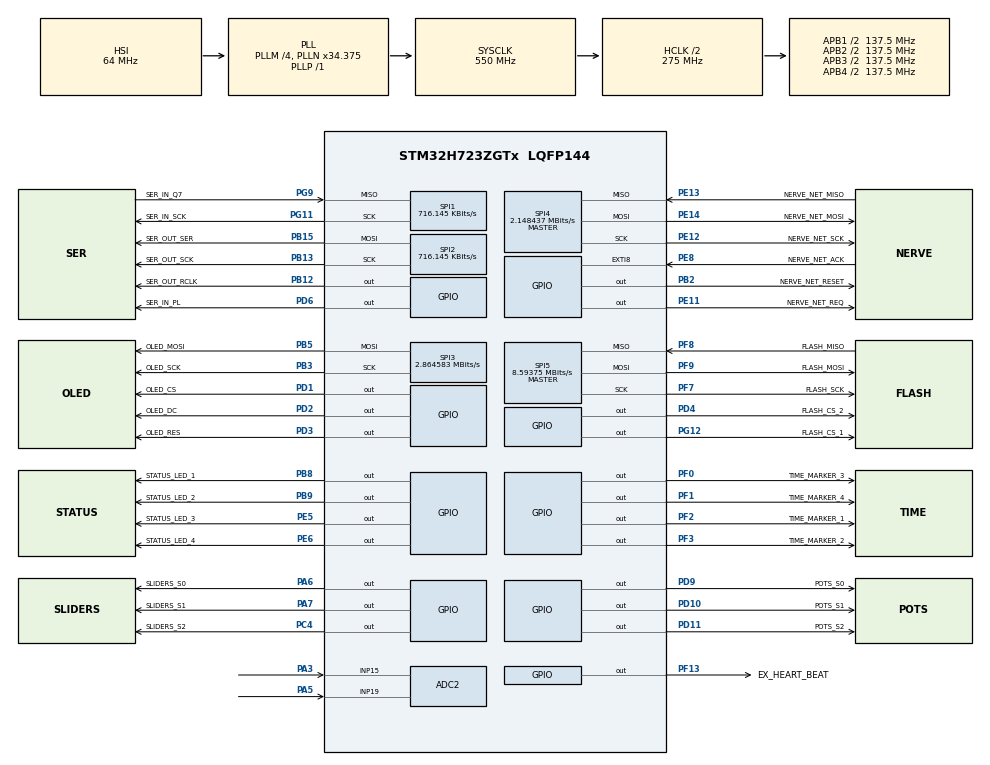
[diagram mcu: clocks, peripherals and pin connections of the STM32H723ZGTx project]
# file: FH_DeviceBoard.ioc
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ADC2.Channel-0\#ChannelRegularConversion=ADC_CHANNEL_15
ADC2.Channel-1\#ChannelRegularConversion=ADC_CHANNEL_19
ADC2.ClockPrescaler=ADC_CLOCK_ASYNC_DIV8
ADC2.ContinuousConvMode=DISABLE
ADC2.ConversionDataManagement=ADC_CONVERSIONDATA_DMA_ONESHOT
ADC2.EOCSelection=ADC_EOC_SEQ_CONV
ADC2.ExternalTrigConv=ADC_SOFTWARE_START
ADC2.NbrOfConversion=2
ADC2.NbrOfConversionFlag=1
ADC2.OffsetNumber-0\#ChannelRegularConversion=ADC_OFFSET_NONE
ADC2.OffsetNumber-1\#ChannelRegularConversion=ADC_OFFSET_NONE
ADC2.OffsetSignedSaturation-0\#ChannelRegularConversion=DISABLE
ADC2.OffsetSignedSaturation-1\#ChannelRegularConversion=DISABLE
ADC2.Rank-0\#ChannelRegularConversion=1
ADC2.Rank-1\#ChannelRegularConversion=2
ADC2.SamplingTime-0\#ChannelRegularConversion=ADC_SAMPLETIME_810CYCLES_5
ADC2.SamplingTime-1\#ChannelRegularConversion=ADC_SAMPLETIME_810CYCLES_5
CORTEX_M7.CPU_ICache=Enabled
CORTEX_M7.default_mode_Activation=1
Dma.ADC2.1.Direction=DMA_PERIPH_TO_MEMORY
Dma.ADC2.1.EventEnable=DISABLE
Dma.ADC2.1.FIFOMode=DMA_FIFOMODE_DISABLE
Dma.ADC2.1.Instance=DMA1_Stream1
Dma.ADC2.1.MemDataAlignment=DMA_MDATAALIGN_HALFWORD
Dma.ADC2.1.MemInc=DMA_MINC_ENABLE
Dma.ADC2.1.Mode=DMA_NORMAL
Dma.ADC2.1.PeriphDataAlignment=DMA_PDATAALIGN_HALFWORD
Dma.ADC2.1.PeriphInc=DMA_PINC_DISABLE
Dma.ADC2.1.Polarity=HAL_DMAMUX_REQ_GEN_RISING
Dma.ADC2.1.Priority=DMA_PRIORITY_MEDIUM
Dma.ADC2.1.RequestNumber=1
Dma.ADC2.1.SignalID=NONE
Dma.ADC2.1.SyncEnable=DISABLE
Dma.ADC2.1.SyncPolarity=HAL_DMAMUX_SYNC_NO_EVENT
Dma.ADC2.1.SyncRequestNumber=1
Dma.ADC2.1.SyncSignalID=NONE
Dma.Request0=SPI2_TX
Dma.Request1=ADC2
Dma.Request2=SPI4_RX
Dma.Request3=SPI4_TX
Dma.SPI2_TX.0.Direction=DMA_MEMORY_TO_PERIPH
Dma.SPI2_TX.0.EventEnable=DISABLE
Dma.SPI2_TX.0.FIFOMode=DMA_FIFOMODE_DISABLE
Dma.SPI2_TX.0.Instance=DMA1_Stream0
Dma.SPI2_TX.0.MemDataAlignment=DMA_MDATAALIGN_BYTE
Dma.SPI2_TX.0.MemInc=DMA_MINC_ENABLE
Dma.SPI2_TX.0.Mode=DMA_NORMAL
Dma.SPI2_TX.0.PeriphDataAlignment=DMA_PDATAALIGN_BYTE
Dma.SPI2_TX.0.PeriphInc=DMA_PINC_DISABLE
Dma.SPI2_TX.0.Polarity=HAL_DMAMUX_REQ_GEN_RISING
Dma.SPI2_TX.0.Priority=DMA_PRIORITY_LOW
Dma.SPI2_TX.0.RequestNumber=1
Dma.SPI2_TX.0.SignalID=NONE
Dma.SPI2_TX.0.SyncEnable=DISABLE
Dma.SPI2_TX.0.SyncPolarity=HAL_DMAMUX_SYNC_NO_EVENT
Dma.SPI2_TX.0.SyncRequestNumber=1
Dma.SPI2_TX.0.SyncSignalID=NONE
Dma.SPI4_RX.2.Direction=DMA_PERIPH_TO_MEMORY
Dma.SPI4_RX.2.EventEnable=DISABLE
Dma.SPI4_RX.2.FIFOMode=DMA_FIFOMODE_DISABLE
Dma.SPI4_RX.2.Instance=DMA1_Stream2
Dma.SPI4_RX.2.MemDataAlignment=DMA_MDATAALIGN_BYTE
Dma.SPI4_RX.2.MemInc=DMA_MINC_ENABLE
Dma.SPI4_RX.2.Mode=DMA_NORMAL
Dma.SPI4_RX.2.PeriphDataAlignment=DMA_PDATAALIGN_BYTE
Dma.SPI4_RX.2.PeriphInc=DMA_PINC_DISABLE
Dma.SPI4_RX.2.Polarity=HAL_DMAMUX_REQ_GEN_RISING
Dma.SPI4_RX.2.Priority=DMA_PRIORITY_LOW
Dma.SPI4_RX.2.RequestNumber=1
Dma.SPI4_RX.2.SignalID=NONE
Dma.SPI4_RX.2.SyncEnable=DISABLE
Dma.SPI4_RX.2.SyncPolarity=HAL_DMAMUX_SYNC_NO_EVENT
Dma.SPI4_RX.2.SyncRequestNumber=1
Dma.SPI4_RX.2.SyncSignalID=NONE
Dma.SPI4_TX.3.Direction=DMA_MEMORY_TO_PERIPH
Dma.SPI4_TX.3.EventEnable=DISABLE
Dma.SPI4_TX.3.FIFOMode=DMA_FIFOMODE_DISABLE
Dma.SPI4_TX.3.Instance=DMA1_Stream3
Dma.SPI4_TX.3.MemDataAlignment=DMA_MDATAALIGN_BYTE
Dma.SPI4_TX.3.MemInc=DMA_MINC_ENABLE
Dma.SPI4_TX.3.Mode=DMA_NORMAL
Dma.SPI4_TX.3.PeriphDataAlignment=DMA_PDATAALIGN_BYTE
Dma.SPI4_TX.3.PeriphInc=DMA_PINC_DISABLE
Dma.SPI4_TX.3.Polarity=HAL_DMAMUX_REQ_GEN_RISING
Dma.SPI4_TX.3.Priority=DMA_PRIORITY_LOW
Dma.SPI4_TX.3.RequestNumber=1
Dma.SPI4_TX.3.SignalID=NONE
Dma.SPI4_TX.3.SyncEnable=DISABLE
Dma.SPI4_TX.3.SyncPolarity=HAL_DMAMUX_SYNC_NO_EVENT
Dma.SPI4_TX.3.SyncRequestNumber=1
Dma.SPI4_TX.3.SyncSignalID=NONE
FREERTOS.Tasks01=defaultTask,24,128,StartDefaultTask,Default,NULL,Dynamic,NULL,NULL
FREERTOS.configENABLE_FPU=1
FREERTOS.configTOTAL_HEAP_SIZE=245760
FREERTOS.configUSE_NEWLIB_REENTRANT=1
Mcu.Family=STM32H7
Mcu.Name=STM32H723ZGTx
Mcu.Package=LQFP144
NVIC.ADC_IRQn=true\:5\:0\:false\:false\:true\:true\:true\:true\:true
NVIC.DMA1_Stream0_IRQn=true\:5\:0\:false\:false\:true\:true\:false\:true\:true
NVIC.DMA1_Stream1_IRQn=true\:5\:0\:false\:false\:true\:true\:false\:true\:true
NVIC.DMA1_Stream2_IRQn=true\:5\:0\:false\:false\:true\:true\:false\:true\:true
NVIC.DMA1_Stream3_IRQn=true\:5\:0\:false\:false\:true\:true\:false\:true\:true
NVIC.EXTI9_5_IRQn=true\:5\:0\:false\:false\:true\:true\:true\:true\:true
NVIC.PriorityGroup=NVIC_PRIORITYGROUP_4
NVIC.SPI2_IRQn=true\:5\:0\:false\:false\:true\:true\:false\:true\:true
NVIC.SPI4_IRQn=true\:5\:0\:false\:false\:true\:true\:false\:true\:true
NVIC.TIM1_UP_IRQn=true\:15\:0\:false\:false\:true\:false\:false\:true\:true
NVIC.TIM4_IRQn=true\:5\:0\:false\:false\:true\:true\:true\:true\:true
NVIC.TimeBase=TIM1_UP_IRQn
NVIC.TimeBaseIP=TIM1
PA13(JTMS/SWDIO).Mode=Serial_Wire
PA13(JTMS/SWDIO).Signal=DEBUG_JTMS-SWDIO
PA14(JTCK/SWCLK).Mode=Serial_Wire
PA14(JTCK/SWCLK).Signal=DEBUG_JTCK-SWCLK
PA3.Signal=ADCx_INP15
PA5.Signal=ADCx_INP19
PA6.GPIO_Label=SLIDERS_S0
PA6.GPIO_Speed=GPIO_SPEED_FREQ_MEDIUM
PA6.Signal=GPIO_Output
PA7.GPIO_Label=SLIDERS_S1
PA7.GPIO_Speed=GPIO_SPEED_FREQ_MEDIUM
PA7.Signal=GPIO_Output
PB12.GPIO_Label=SER_OUT_RCLK
PB12.GPIO_Speed=GPIO_SPEED_FREQ_MEDIUM
PB12.PinState=GPIO_PIN_SET
PB12.Signal=GPIO_Output
PB13.GPIO_Label=SER_OUT_SCK
PB13.Mode=TX_Only_Simplex_Unidirect_Master
PB13.Signal=SPI2_SCK
PB15.GPIO_Label=SER_OUT_SER
PB15.Mode=TX_Only_Simplex_Unidirect_Master
PB15.Signal=SPI2_MOSI
PB2.GPIO_Label=NERVE_NET_RESET
PB2.GPIO_Speed=GPIO_SPEED_FREQ_MEDIUM
PB2.PinState=GPIO_PIN_RESET
PB2.Signal=GPIO_Output
PB3(JTDO/TRACESWO).GPIO_Label=OLED_SCK
PB3(JTDO/TRACESWO).Mode=TX_Only_Simplex_Unidirect_Master
PB3(JTDO/TRACESWO).Signal=SPI3_SCK
PB5.GPIO_Label=OLED_MOSI
PB5.Mode=TX_Only_Simplex_Unidirect_Master
PB5.Signal=SPI3_MOSI
PB8.GPIO_Label=STATUS_LED_1
PB8.GPIO_ModeDefaultOutputPP=GPIO_MODE_OUTPUT_OD
PB8.GPIO_PuPd=GPIO_NOPULL
PB8.PinState=GPIO_PIN_SET
PB8.Signal=GPIO_Output
PB9.GPIO_Label=STATUS_LED_2
PB9.GPIO_ModeDefaultOutputPP=GPIO_MODE_OUTPUT_OD
PB9.GPIO_PuPd=GPIO_NOPULL
PB9.PinState=GPIO_PIN_SET
PB9.Signal=GPIO_Output
PC4.GPIO_Label=SLIDERS_S2
PC4.GPIO_Speed=GPIO_SPEED_FREQ_MEDIUM
PC4.Signal=GPIO_Output
PD1.GPIO_Label=OLED_CS
PD1.GPIO_Speed=GPIO_SPEED_FREQ_MEDIUM
PD1.PinState=GPIO_PIN_SET
PD1.Signal=GPIO_Output
PD10.GPIO_Label=POTS_S1
PD10.GPIO_Speed=GPIO_SPEED_FREQ_MEDIUM
PD10.Signal=GPIO_Output
PD11.GPIO_Label=POTS_S2
PD11.GPIO_Speed=GPIO_SPEED_FREQ_MEDIUM
PD11.Signal=GPIO_Output
PD2.GPIO_Label=OLED_DC
PD2.GPIO_Speed=GPIO_SPEED_FREQ_MEDIUM
PD2.PinState=GPIO_PIN_SET
PD2.Signal=GPIO_Output
PD3.GPIO_Label=OLED_RES
PD3.GPIO_Speed=GPIO_SPEED_FREQ_MEDIUM
PD3.PinState=GPIO_PIN_SET
PD3.Signal=GPIO_Output
PD4.GPIO_Label=FLASH_CS_2
PD4.GPIO_Speed=GPIO_SPEED_FREQ_MEDIUM
PD4.PinState=GPIO_PIN_SET
PD4.Signal=GPIO_Output
PD6.GPIO_Label=SER_IN_PL
PD6.GPIO_Speed=GPIO_SPEED_FREQ_MEDIUM
PD6.PinState=GPIO_PIN_SET
PD6.Signal=GPIO_Output
PD9.GPIO_Label=POTS_S0
PD9.GPIO_Speed=GPIO_SPEED_FREQ_MEDIUM
PD9.Signal=GPIO_Output
PE11.GPIO_Label=NERVE_NET_REQ
PE11.GPIO_PuPd=GPIO_PULLDOWN
PE11.GPIO_Speed=GPIO_SPEED_FREQ_MEDIUM
PE11.PinState=GPIO_PIN_RESET
PE11.Signal=GPIO_Output
PE12.GPIO_Label=NERVE_NET_SCK
PE12.Mode=Full_Duplex_Master
PE12.Signal=SPI4_SCK
PE13.GPIO_Label=NERVE_NET_MISO
PE13.Mode=Full_Duplex_Master
PE13.Signal=SPI4_MISO
PE14.GPIO_Label=NERVE_NET_MOSI
PE14.Mode=Full_Duplex_Master
PE14.Signal=SPI4_MOSI
PE5.GPIO_Label=STATUS_LED_3
PE5.GPIO_ModeDefaultOutputPP=GPIO_MODE_OUTPUT_OD
PE5.GPIO_PuPd=GPIO_NOPULL
PE5.PinState=GPIO_PIN_SET
PE5.Signal=GPIO_Output
PE6.GPIO_Label=STATUS_LED_4
PE6.GPIO_ModeDefaultOutputPP=GPIO_MODE_OUTPUT_OD
PE6.GPIO_PuPd=GPIO_NOPULL
PE6.PinState=GPIO_PIN_SET
PE6.Signal=GPIO_Output
PE8.GPIO_Label=NERVE_NET_ACK
PE8.GPIO_ModeDefaultEXTI=GPIO_MODE_IT_RISING_FALLING
PE8.Signal=GPXTI8
PF0.GPIO_Label=TIME_MARKER_3
PF0.GPIO_Speed=GPIO_SPEED_FREQ_VERY_HIGH
PF0.Signal=GPIO_Output
PF1.GPIO_Label=TIME_MARKER_4
PF1.GPIO_Speed=GPIO_SPEED_FREQ_VERY_HIGH
PF1.Signal=GPIO_Output
PF13.GPIO_Label=EX_HEART_BEAT
PF13.PinState=GPIO_PIN_SET
PF13.Signal=GPIO_Output
PF2.GPIO_Label=TIME_MARKER_1
PF2.GPIO_Speed=GPIO_SPEED_FREQ_VERY_HIGH
PF2.Signal=GPIO_Output
PF3.GPIO_Label=TIME_MARKER_2
PF3.GPIO_Speed=GPIO_SPEED_FREQ_VERY_HIGH
PF3.Signal=GPIO_Output
PF7.GPIO_Label=FLASH_SCK
PF7.Mode=Full_Duplex_Master
PF7.Signal=SPI5_SCK
PF8.GPIO_Label=FLASH_MISO
PF8.Mode=Full_Duplex_Master
PF8.Signal=SPI5_MISO
PF9.GPIO_Label=FLASH_MOSI
PF9.Mode=Full_Duplex_Master
PF9.Signal=SPI5_MOSI
PG11.GPIO_Label=SER_IN_SCK
PG11.Mode=RX_Only_Simplex_Unidirect_Master
PG11.Signal=SPI1_SCK
PG12.GPIO_Label=FLASH_CS_1
PG12.GPIO_Speed=GPIO_SPEED_FREQ_MEDIUM
PG12.PinState=GPIO_PIN_SET
PG12.Signal=GPIO_Output
PG9.GPIO_Label=SER_IN_Q7
PG9.Mode=RX_Only_Simplex_Unidirect_Master
PG9.Signal=SPI1_MISO
PH0-OSC_IN.Mode=HSE-External-Oscillator
PH0-OSC_IN.Signal=RCC_OSC_IN
PH1-OSC_OUT.Mode=HSE-External-Oscillator
PH1-OSC_OUT.Signal=RCC_OSC_OUT
ProjectManager.HeapSize=0x200
ProjectManager.StackSize=0x400
ProjectManager.TargetToolchain=STM32CubeIDE
RCC.ADCFreq_Value=96000000
RCC.APB1Freq_Value=137500000
RCC.APB2Freq_Value=137500000
RCC.APB3Freq_Value=137500000
RCC.APB4Freq_Value=137500000
RCC.CortexFreq_Value=550000000
RCC.D1PPRE=RCC_APB3_DIV2
RCC.D2PPRE1=RCC_APB1_DIV2
RCC.D2PPRE2=RCC_APB2_DIV2
RCC.D3PPRE=RCC_APB4_DIV2
RCC.DIVM1=4
RCC.DIVM2=4
RCC.DIVN1=34
RCC.DIVN2=12
RCC.DIVP1=1
RCC.DIVQ1=3
RCC.HCLKFreq_Value=275000000
RCC.HPRE=RCC_HCLK_DIV2
RCC.PLL2FRACN=0
RCC.PLL3FRACN=0
RCC.PLLFRACN=3072
RCC.SYSCLKFreq_VALUE=550000000
RCC.SYSCLKSource=RCC_SYSCLKSOURCE_PLLCLK
RCC.USBFreq_Value=183333333.33333334
SH.ADCx_INP15.0=ADC2_INP15,IN15-Single-Ended
SH.ADCx_INP19.0=ADC2_INP19,IN19-Single-Ended
SPI1.BaudRatePrescaler=SPI_BAUDRATEPRESCALER_256
SPI1.CalculateBaudRate=716.145 KBits/s
SPI1.DataSize=SPI_DATASIZE_8BIT
SPI1.Direction=SPI_DIRECTION_2LINES_RXONLY
SPI1.Mode=SPI_MODE_MASTER
SPI1.VirtualType=VM_MASTER
SPI2.BaudRatePrescaler=SPI_BAUDRATEPRESCALER_256
SPI2.CalculateBaudRate=716.145 KBits/s
SPI2.DataSize=SPI_DATASIZE_8BIT
SPI2.Direction=SPI_DIRECTION_2LINES_TXONLY
SPI2.Mode=SPI_MODE_MASTER
SPI2.VirtualType=VM_MASTER
SPI3.BaudRatePrescaler=SPI_BAUDRATEPRESCALER_64
SPI3.CalculateBaudRate=2.864583 MBits/s
SPI3.DataSize=SPI_DATASIZE_8BIT
SPI3.Direction=SPI_DIRECTION_2LINES_TXONLY
SPI3.Mode=SPI_MODE_MASTER
SPI3.VirtualType=VM_MASTER
SPI4.BaudRatePrescaler=SPI_BAUDRATEPRESCALER_64
SPI4.CalculateBaudRate=2.148437 MBits/s
SPI4.DataSize=SPI_DATASIZE_8BIT
SPI4.Direction=SPI_DIRECTION_2LINES
SPI4.Mode=SPI_MODE_MASTER
SPI4.VirtualType=VM_MASTER
SPI5.BaudRatePrescaler=SPI_BAUDRATEPRESCALER_16
SPI5.CalculateBaudRate=8.59375 MBits/s
SPI5.DataSize=SPI_DATASIZE_8BIT
SPI5.Direction=SPI_DIRECTION_2LINES
SPI5.Mode=SPI_MODE_MASTER
SPI5.VirtualType=VM_MASTER
TIM4.Period=1000 - 1
TIM4.Prescaler=120 - 1
VP_FREERTOS_VS_CMSIS_V2.Mode=CMSIS_V2
VP_MEMORYMAP_VS_MEMORYMAP.Mode=CurAppReg
VP_SYS_VS_tim1.Mode=TIM1
VP_TIM4_VS_ClockSourceINT.Mode=Internal
board=custom

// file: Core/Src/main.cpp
/* USER CODE BEGIN Header */
/**
  ******************************************************************************
  * @file           : main.c
  * @brief          : Main program body
  ******************************************************************************
  * @attention
  *
  * Copyright (c) 2025 STMicroelectronics.
  * All rights reserved.
  *
  * This software is licensed under terms that can be found in the LICENSE file
  * in the root directory of this software component.
  * If no LICENSE file comes with this software, it is provided AS-IS.
  *
  ******************************************************************************
  */
/* USER CODE END Header */
#include "main.h"
#include "cmsis_os.h"

/* USER CODE BEGIN Includes */

#include "UI_Definitions.h"
#include "YellowPages.h"

#include "SystemConfig.h"

#include "UI_Thread.h"

#include "NerveNet/NerveNetMasterThread.h"
#include "NerveNet/NerveNetSlaveThread.h"
#include "NerveNet/NerveNetConfig.h"
#include "Threads/TriggerThread.h"

#include "NorthSideConnection.h"

/* USER CODE END Includes */

ADC_HandleTypeDef hadc2;
DMA_HandleTypeDef hdma_adc2;

SPI_HandleTypeDef hspi1;
SPI_HandleTypeDef hspi2;
SPI_HandleTypeDef hspi3;
SPI_HandleTypeDef hspi4;
SPI_HandleTypeDef hspi5;
DMA_HandleTypeDef hdma_spi2_tx;
DMA_HandleTypeDef hdma_spi4_rx;
DMA_HandleTypeDef hdma_spi4_tx;

TIM_HandleTypeDef htim4;

/* Definitions for defaultTask */
osThreadId_t defaultTaskHandle;
const osThreadAttr_t defaultTask_attributes = {
  .name = "defaultTask",
  .stack_size = 128 * 4,
  .priority = (osPriority_t) osPriorityNormal,
};

void SystemClock_Config(void);
static void MPU_Config(void);
static void MX_GPIO_Init(void);
static void MX_DMA_Init(void);
static void MX_SPI2_Init(void);
static void MX_SPI3_Init(void);
static void MX_SPI5_Init(void);
static void MX_TIM4_Init(void);
static void MX_SPI1_Init(void);
static void MX_ADC2_Init(void);
static void MX_SPI4_Init(void);
void StartDefaultTask(void *argument);

/* USER CODE BEGIN 0 */

static uint32_t gInitFreeHeapSize;
uint32_t getInitFreeHeapSize ()
{
	return gInitFreeHeapSize;
}

/*
 * displayStatus()
 */
//void displayStatus(eStatusCodes status)
static uint32_t _status_ = 0x00;
void displayStatus(uint32_t status)
{
	_status_ = status;
	uint32_t code = (uint32_t)status;
	HAL_GPIO_WritePin(GPIOB, STATUS_LED_2_Pin|STATUS_LED_1_Pin, GPIO_PIN_SET);
	HAL_GPIO_WritePin(GPIOE, STATUS_LED_4_Pin|STATUS_LED_3_Pin, GPIO_PIN_SET);
	if (code & 0x00000001)
		HAL_GPIO_WritePin(GPIOB, STATUS_LED_1_Pin, GPIO_PIN_RESET);
	if (code & 0x00000002)
		HAL_GPIO_WritePin(GPIOB, STATUS_LED_2_Pin, GPIO_PIN_RESET);
	if (code & 0x00000004)
		HAL_GPIO_WritePin(GPIOE, STATUS_LED_3_Pin, GPIO_PIN_RESET);
	if (code & 0x00000008)
		HAL_GPIO_WritePin(GPIOE, STATUS_LED_4_Pin, GPIO_PIN_RESET);
}

void incDisplayStatus()
{
	displayStatus ( ++ _status_ );
	osDelay ( pdMS_TO_TICKS ( 100 ) );
}

/*
 * Time marker functions used for performance measurement using a logic analyzer
 */
void toggleTimeMarker_1()
{
	HAL_GPIO_TogglePin(GPIOF, TIME_MARKER_1_Pin);
}

void setTimeMarker_1()
{
	HAL_GPIO_WritePin(GPIOF, TIME_MARKER_1_Pin, GPIO_PIN_SET);
}

void resetTimeMarker_1()
{
	HAL_GPIO_WritePin(GPIOF, TIME_MARKER_1_Pin, GPIO_PIN_RESET);
}

void toggleTimeMarker_2()
{
	HAL_GPIO_TogglePin(GPIOF, TIME_MARKER_2_Pin);
}

void setTimeMarker_2()
{
	HAL_GPIO_WritePin(GPIOF, TIME_MARKER_2_Pin, GPIO_PIN_SET);
}

void resetTimeMarker_2()
{
	HAL_GPIO_WritePin(GPIOF, TIME_MARKER_2_Pin, GPIO_PIN_RESET);
}

void toggleTimeMarker_3()
{
	HAL_GPIO_TogglePin(GPIOF, TIME_MARKER_3_Pin);
}

void setTimeMarker_3()
{
	HAL_GPIO_WritePin(GPIOF, TIME_MARKER_3_Pin, GPIO_PIN_SET);
}

void resetTimeMarker_3()
{
	HAL_GPIO_WritePin(GPIOF, TIME_MARKER_3_Pin, GPIO_PIN_RESET);
}

void toggleTimeMarker_4()
{
	HAL_GPIO_TogglePin(GPIOF, TIME_MARKER_4_Pin);
}

void setTimeMarker_4()
{
	HAL_GPIO_WritePin(GPIOF, TIME_MARKER_4_Pin, GPIO_PIN_SET);
}

void resetTimeMarker_4()
{
	HAL_GPIO_WritePin(GPIOF, TIME_MARKER_4_Pin, GPIO_PIN_RESET);
}

/* USER CODE END 0 */

int main(void)
{

  /* MPU Configuration--------------------------------------------------------*/
  MPU_Config();

  /* Enable the CPU Cache */

  /* Enable I-Cache---------------------------------------------------------*/
  SCB_EnableICache();

  /* MCU Configuration--------------------------------------------------------*/

  /* Reset of all peripherals, Initializes the Flash interface and the Systick. */
  HAL_Init();

  /* Configure the system clock */
  SystemClock_Config();

  /* Initialize all configured peripherals */
  MX_GPIO_Init();
  MX_DMA_Init();
  MX_SPI2_Init();
  MX_SPI3_Init();
  MX_SPI5_Init();
  MX_TIM4_Init();
  MX_SPI1_Init();
  MX_ADC2_Init();
  MX_SPI4_Init();
  /* USER CODE BEGIN 2 */

//  HAL_Delay( 10000 );

  /* USER CODE END 2 */

  /* Init scheduler */
  osKernelInitialize();

  /* Create the thread(s) */
  /* creation of defaultTask */
  defaultTaskHandle = osThreadNew(StartDefaultTask, NULL, &defaultTask_attributes);

  /* Start scheduler */
  osKernelStart();

  /* We should never get here as control is now taken by the scheduler */

  /* Infinite loop */
  while (1)
  {

  }
}

void SystemClock_Config(void)
{
  RCC_OscInitTypeDef RCC_OscInitStruct = {0};
  RCC_ClkInitTypeDef RCC_ClkInitStruct = {0};

  /** Supply configuration update enable
  */
  HAL_PWREx_ConfigSupply(PWR_LDO_SUPPLY);

  /** Configure the main internal regulator output voltage
  */
  __HAL_PWR_VOLTAGESCALING_CONFIG(PWR_REGULATOR_VOLTAGE_SCALE0);

  while(!__HAL_PWR_GET_FLAG(PWR_FLAG_VOSRDY)) {}

  /** Initializes the RCC Oscillators according to the specified parameters
  * in the RCC_OscInitTypeDef structure.
  */
  RCC_OscInitStruct.OscillatorType = RCC_OSCILLATORTYPE_HSI;
  RCC_OscInitStruct.HSIState = RCC_HSI_DIV1;
  RCC_OscInitStruct.HSICalibrationValue = 64;
  RCC_OscInitStruct.PLL.PLLState = RCC_PLL_ON;
  RCC_OscInitStruct.PLL.PLLSource = RCC_PLLSOURCE_HSI;
  RCC_OscInitStruct.PLL.PLLM = 4;
  RCC_OscInitStruct.PLL.PLLN = 34;
  RCC_OscInitStruct.PLL.PLLP = 1;
  RCC_OscInitStruct.PLL.PLLQ = 3;
  RCC_OscInitStruct.PLL.PLLR = 2;
  RCC_OscInitStruct.PLL.PLLRGE = RCC_PLL1VCIRANGE_3;
  RCC_OscInitStruct.PLL.PLLVCOSEL = RCC_PLL1VCOWIDE;
  RCC_OscInitStruct.PLL.PLLFRACN = 3072;
  if (HAL_RCC_OscConfig(&RCC_OscInitStruct) != HAL_OK)
  {
    Error_Handler();
  }

  /** Initializes the CPU, AHB and APB buses clocks
  */
  RCC_ClkInitStruct.ClockType = RCC_CLOCKTYPE_HCLK|RCC_CLOCKTYPE_SYSCLK
                              |RCC_CLOCKTYPE_PCLK1|RCC_CLOCKTYPE_PCLK2
                              |RCC_CLOCKTYPE_D3PCLK1|RCC_CLOCKTYPE_D1PCLK1;
  RCC_ClkInitStruct.SYSCLKSource = RCC_SYSCLKSOURCE_PLLCLK;
  RCC_ClkInitStruct.SYSCLKDivider = RCC_SYSCLK_DIV1;
  RCC_ClkInitStruct.AHBCLKDivider = RCC_HCLK_DIV2;
  RCC_ClkInitStruct.APB3CLKDivider = RCC_APB3_DIV2;
  RCC_ClkInitStruct.APB1CLKDivider = RCC_APB1_DIV2;
  RCC_ClkInitStruct.APB2CLKDivider = RCC_APB2_DIV2;
  RCC_ClkInitStruct.APB4CLKDivider = RCC_APB4_DIV2;

  if (HAL_RCC_ClockConfig(&RCC_ClkInitStruct, FLASH_LATENCY_3) != HAL_OK)
  {
    Error_Handler();
  }
}

static void MX_ADC2_Init(void)
{

  ADC_ChannelConfTypeDef sConfig = {0};

  /** Common config
  */
  hadc2.Instance = ADC2;
  hadc2.Init.ClockPrescaler = ADC_CLOCK_ASYNC_DIV8;
  hadc2.Init.Resolution = ADC_RESOLUTION_16B;
  hadc2.Init.ScanConvMode = ADC_SCAN_ENABLE;
  hadc2.Init.EOCSelection = ADC_EOC_SEQ_CONV;
  hadc2.Init.LowPowerAutoWait = DISABLE;
  hadc2.Init.ContinuousConvMode = DISABLE;
  hadc2.Init.NbrOfConversion = 2;
  hadc2.Init.DiscontinuousConvMode = DISABLE;
  hadc2.Init.ExternalTrigConv = ADC_SOFTWARE_START;
  hadc2.Init.ExternalTrigConvEdge = ADC_EXTERNALTRIGCONVEDGE_NONE;
  hadc2.Init.ConversionDataManagement = ADC_CONVERSIONDATA_DMA_ONESHOT;
  hadc2.Init.Overrun = ADC_OVR_DATA_PRESERVED;
  hadc2.Init.LeftBitShift = ADC_LEFTBITSHIFT_NONE;
  hadc2.Init.OversamplingMode = DISABLE;
  hadc2.Init.Oversampling.Ratio = 1;
  if (HAL_ADC_Init(&hadc2) != HAL_OK)
  {
    Error_Handler();
  }

  /** Configure Regular Channel
  */
  sConfig.Channel = ADC_CHANNEL_15;
  sConfig.Rank = ADC_REGULAR_RANK_1;
  sConfig.SamplingTime = ADC_SAMPLETIME_810CYCLES_5;
  sConfig.SingleDiff = ADC_SINGLE_ENDED;
  sConfig.OffsetNumber = ADC_OFFSET_NONE;
  sConfig.Offset = 0;
  sConfig.OffsetSignedSaturation = DISABLE;
  if (HAL_ADC_ConfigChannel(&hadc2, &sConfig) != HAL_OK)
  {
    Error_Handler();
  }

  /** Configure Regular Channel
  */
  sConfig.Channel = ADC_CHANNEL_19;
  sConfig.Rank = ADC_REGULAR_RANK_2;
  if (HAL_ADC_ConfigChannel(&hadc2, &sConfig) != HAL_OK)
  {
    Error_Handler();
  }

}

static void MX_SPI1_Init(void)
{

  /* SPI1 parameter configuration*/
  hspi1.Instance = SPI1;
  hspi1.Init.Mode = SPI_MODE_MASTER;
  hspi1.Init.Direction = SPI_DIRECTION_2LINES_RXONLY;
  hspi1.Init.DataSize = SPI_DATASIZE_8BIT;
  hspi1.Init.CLKPolarity = SPI_POLARITY_LOW;
  hspi1.Init.CLKPhase = SPI_PHASE_1EDGE;
  hspi1.Init.NSS = SPI_NSS_SOFT;
  hspi1.Init.BaudRatePrescaler = SPI_BAUDRATEPRESCALER_256;
  hspi1.Init.FirstBit = SPI_FIRSTBIT_MSB;
  hspi1.Init.TIMode = SPI_TIMODE_DISABLE;
  hspi1.Init.CRCCalculation = SPI_CRCCALCULATION_DISABLE;
  hspi1.Init.CRCPolynomial = 0x0;
  hspi1.Init.NSSPMode = SPI_NSS_PULSE_ENABLE;
  hspi1.Init.NSSPolarity = SPI_NSS_POLARITY_LOW;
  hspi1.Init.FifoThreshold = SPI_FIFO_THRESHOLD_01DATA;
  hspi1.Init.TxCRCInitializationPattern = SPI_CRC_INITIALIZATION_ALL_ZERO_PATTERN;
  hspi1.Init.RxCRCInitializationPattern = SPI_CRC_INITIALIZATION_ALL_ZERO_PATTERN;
  hspi1.Init.MasterSSIdleness = SPI_MASTER_SS_IDLENESS_00CYCLE;
  hspi1.Init.MasterInterDataIdleness = SPI_MASTER_INTERDATA_IDLENESS_00CYCLE;
  hspi1.Init.MasterReceiverAutoSusp = SPI_MASTER_RX_AUTOSUSP_DISABLE;
  hspi1.Init.MasterKeepIOState = SPI_MASTER_KEEP_IO_STATE_DISABLE;
  hspi1.Init.IOSwap = SPI_IO_SWAP_DISABLE;
  if (HAL_SPI_Init(&hspi1) != HAL_OK)
  {
    Error_Handler();
  }

}

static void MX_SPI2_Init(void)
{

  /* SPI2 parameter configuration*/
  hspi2.Instance = SPI2;
  hspi2.Init.Mode = SPI_MODE_MASTER;
  hspi2.Init.Direction = SPI_DIRECTION_2LINES_TXONLY;
  hspi2.Init.DataSize = SPI_DATASIZE_8BIT;
  hspi2.Init.CLKPolarity = SPI_POLARITY_LOW;
  hspi2.Init.CLKPhase = SPI_PHASE_1EDGE;
  hspi2.Init.NSS = SPI_NSS_SOFT;
  hspi2.Init.BaudRatePrescaler = SPI_BAUDRATEPRESCALER_256;
  hspi2.Init.FirstBit = SPI_FIRSTBIT_MSB;
  hspi2.Init.TIMode = SPI_TIMODE_DISABLE;
  hspi2.Init.CRCCalculation = SPI_CRCCALCULATION_DISABLE;
  hspi2.Init.CRCPolynomial = 0x0;
  hspi2.Init.NSSPMode = SPI_NSS_PULSE_ENABLE;
  hspi2.Init.NSSPolarity = SPI_NSS_POLARITY_LOW;
  hspi2.Init.FifoThreshold = SPI_FIFO_THRESHOLD_01DATA;
  hspi2.Init.TxCRCInitializationPattern = SPI_CRC_INITIALIZATION_ALL_ZERO_PATTERN;
  hspi2.Init.RxCRCInitializationPattern = SPI_CRC_INITIALIZATION_ALL_ZERO_PATTERN;
  hspi2.Init.MasterSSIdleness = SPI_MASTER_SS_IDLENESS_00CYCLE;
  hspi2.Init.MasterInterDataIdleness = SPI_MASTER_INTERDATA_IDLENESS_00CYCLE;
  hspi2.Init.MasterReceiverAutoSusp = SPI_MASTER_RX_AUTOSUSP_DISABLE;
  hspi2.Init.MasterKeepIOState = SPI_MASTER_KEEP_IO_STATE_DISABLE;
  hspi2.Init.IOSwap = SPI_IO_SWAP_DISABLE;
  if (HAL_SPI_Init(&hspi2) != HAL_OK)
  {
    Error_Handler();
  }

}

static void MX_SPI3_Init(void)
{

  /* SPI3 parameter configuration*/
  hspi3.Instance = SPI3;
  hspi3.Init.Mode = SPI_MODE_MASTER;
  hspi3.Init.Direction = SPI_DIRECTION_2LINES_TXONLY;
  hspi3.Init.DataSize = SPI_DATASIZE_8BIT;
  hspi3.Init.CLKPolarity = SPI_POLARITY_LOW;
  hspi3.Init.CLKPhase = SPI_PHASE_1EDGE;
  hspi3.Init.NSS = SPI_NSS_SOFT;
  hspi3.Init.BaudRatePrescaler = SPI_BAUDRATEPRESCALER_64;
  hspi3.Init.FirstBit = SPI_FIRSTBIT_MSB;
  hspi3.Init.TIMode = SPI_TIMODE_DISABLE;
  hspi3.Init.CRCCalculation = SPI_CRCCALCULATION_DISABLE;
  hspi3.Init.CRCPolynomial = 0x0;
  hspi3.Init.NSSPMode = SPI_NSS_PULSE_ENABLE;
  hspi3.Init.NSSPolarity = SPI_NSS_POLARITY_LOW;
  hspi3.Init.FifoThreshold = SPI_FIFO_THRESHOLD_01DATA;
  hspi3.Init.TxCRCInitializationPattern = SPI_CRC_INITIALIZATION_ALL_ZERO_PATTERN;
  hspi3.Init.RxCRCInitializationPattern = SPI_CRC_INITIALIZATION_ALL_ZERO_PATTERN;
  hspi3.Init.MasterSSIdleness = SPI_MASTER_SS_IDLENESS_00CYCLE;
  hspi3.Init.MasterInterDataIdleness = SPI_MASTER_INTERDATA_IDLENESS_00CYCLE;
  hspi3.Init.MasterReceiverAutoSusp = SPI_MASTER_RX_AUTOSUSP_DISABLE;
  hspi3.Init.MasterKeepIOState = SPI_MASTER_KEEP_IO_STATE_DISABLE;
  hspi3.Init.IOSwap = SPI_IO_SWAP_DISABLE;
  if (HAL_SPI_Init(&hspi3) != HAL_OK)
  {
    Error_Handler();
  }

}

static void MX_SPI4_Init(void)
{

  /* SPI4 parameter configuration*/
  hspi4.Instance = SPI4;
  hspi4.Init.Mode = SPI_MODE_MASTER;
  hspi4.Init.Direction = SPI_DIRECTION_2LINES;
  hspi4.Init.DataSize = SPI_DATASIZE_8BIT;
  hspi4.Init.CLKPolarity = SPI_POLARITY_LOW;
  hspi4.Init.CLKPhase = SPI_PHASE_1EDGE;
  hspi4.Init.NSS = SPI_NSS_SOFT;
  hspi4.Init.BaudRatePrescaler = SPI_BAUDRATEPRESCALER_64;
  hspi4.Init.FirstBit = SPI_FIRSTBIT_MSB;
  hspi4.Init.TIMode = SPI_TIMODE_DISABLE;
  hspi4.Init.CRCCalculation = SPI_CRCCALCULATION_DISABLE;
  hspi4.Init.CRCPolynomial = 0x0;
  hspi4.Init.NSSPMode = SPI_NSS_PULSE_ENABLE;
  hspi4.Init.NSSPolarity = SPI_NSS_POLARITY_LOW;
  hspi4.Init.FifoThreshold = SPI_FIFO_THRESHOLD_01DATA;
  hspi4.Init.TxCRCInitializationPattern = SPI_CRC_INITIALIZATION_ALL_ZERO_PATTERN;
  hspi4.Init.RxCRCInitializationPattern = SPI_CRC_INITIALIZATION_ALL_ZERO_PATTERN;
  hspi4.Init.MasterSSIdleness = SPI_MASTER_SS_IDLENESS_00CYCLE;
  hspi4.Init.MasterInterDataIdleness = SPI_MASTER_INTERDATA_IDLENESS_00CYCLE;
  hspi4.Init.MasterReceiverAutoSusp = SPI_MASTER_RX_AUTOSUSP_DISABLE;
  hspi4.Init.MasterKeepIOState = SPI_MASTER_KEEP_IO_STATE_DISABLE;
  hspi4.Init.IOSwap = SPI_IO_SWAP_DISABLE;
  if (HAL_SPI_Init(&hspi4) != HAL_OK)
  {
    Error_Handler();
  }

}

static void MX_SPI5_Init(void)
{

  /* SPI5 parameter configuration*/
  hspi5.Instance = SPI5;
  hspi5.Init.Mode = SPI_MODE_MASTER;
  hspi5.Init.Direction = SPI_DIRECTION_2LINES;
  hspi5.Init.DataSize = SPI_DATASIZE_8BIT;
  hspi5.Init.CLKPolarity = SPI_POLARITY_LOW;
  hspi5.Init.CLKPhase = SPI_PHASE_1EDGE;
  hspi5.Init.NSS = SPI_NSS_SOFT;
  hspi5.Init.BaudRatePrescaler = SPI_BAUDRATEPRESCALER_16;
  hspi5.Init.FirstBit = SPI_FIRSTBIT_MSB;
  hspi5.Init.TIMode = SPI_TIMODE_DISABLE;
  hspi5.Init.CRCCalculation = SPI_CRCCALCULATION_DISABLE;
  hspi5.Init.CRCPolynomial = 0x0;
  hspi5.Init.NSSPMode = SPI_NSS_PULSE_ENABLE;
  hspi5.Init.NSSPolarity = SPI_NSS_POLARITY_LOW;
  hspi5.Init.FifoThreshold = SPI_FIFO_THRESHOLD_01DATA;
  hspi5.Init.TxCRCInitializationPattern = SPI_CRC_INITIALIZATION_ALL_ZERO_PATTERN;
  hspi5.Init.RxCRCInitializationPattern = SPI_CRC_INITIALIZATION_ALL_ZERO_PATTERN;
  hspi5.Init.MasterSSIdleness = SPI_MASTER_SS_IDLENESS_00CYCLE;
  hspi5.Init.MasterInterDataIdleness = SPI_MASTER_INTERDATA_IDLENESS_00CYCLE;
  hspi5.Init.MasterReceiverAutoSusp = SPI_MASTER_RX_AUTOSUSP_DISABLE;
  hspi5.Init.MasterKeepIOState = SPI_MASTER_KEEP_IO_STATE_DISABLE;
  hspi5.Init.IOSwap = SPI_IO_SWAP_DISABLE;
  if (HAL_SPI_Init(&hspi5) != HAL_OK)
  {
    Error_Handler();
  }

}

static void MX_TIM4_Init(void)
{

  TIM_ClockConfigTypeDef sClockSourceConfig = {0};
  TIM_MasterConfigTypeDef sMasterConfig = {0};

  htim4.Instance = TIM4;
  htim4.Init.Prescaler = 120 - 1;
  htim4.Init.CounterMode = TIM_COUNTERMODE_UP;
  htim4.Init.Period = 1000 - 1;
  htim4.Init.ClockDivision = TIM_CLOCKDIVISION_DIV1;
  htim4.Init.AutoReloadPreload = TIM_AUTORELOAD_PRELOAD_DISABLE;
  if (HAL_TIM_Base_Init(&htim4) != HAL_OK)
  {
    Error_Handler();
  }
  sClockSourceConfig.ClockSource = TIM_CLOCKSOURCE_INTERNAL;
  if (HAL_TIM_ConfigClockSource(&htim4, &sClockSourceConfig) != HAL_OK)
  {
    Error_Handler();
  }
  sMasterConfig.MasterOutputTrigger = TIM_TRGO_RESET;
  sMasterConfig.MasterSlaveMode = TIM_MASTERSLAVEMODE_DISABLE;
  if (HAL_TIMEx_MasterConfigSynchronization(&htim4, &sMasterConfig) != HAL_OK)
  {
    Error_Handler();
  }

}

static void MX_DMA_Init(void)
{

  /* DMA controller clock enable */
  __HAL_RCC_DMA1_CLK_ENABLE();

  /* DMA interrupt init */
  /* DMA1_Stream0_IRQn interrupt configuration */
  HAL_NVIC_SetPriority(DMA1_Stream0_IRQn, 5, 0);
  HAL_NVIC_EnableIRQ(DMA1_Stream0_IRQn);
  /* DMA1_Stream1_IRQn interrupt configuration */
  HAL_NVIC_SetPriority(DMA1_Stream1_IRQn, 5, 0);
  HAL_NVIC_EnableIRQ(DMA1_Stream1_IRQn);
  /* DMA1_Stream2_IRQn interrupt configuration */
  HAL_NVIC_SetPriority(DMA1_Stream2_IRQn, 5, 0);
  HAL_NVIC_EnableIRQ(DMA1_Stream2_IRQn);
  /* DMA1_Stream3_IRQn interrupt configuration */
  HAL_NVIC_SetPriority(DMA1_Stream3_IRQn, 5, 0);
  HAL_NVIC_EnableIRQ(DMA1_Stream3_IRQn);

}

static void MX_GPIO_Init(void)
{
  GPIO_InitTypeDef GPIO_InitStruct = {0};

  /* GPIO Ports Clock Enable */
  __HAL_RCC_GPIOE_CLK_ENABLE();
  __HAL_RCC_GPIOF_CLK_ENABLE();
  __HAL_RCC_GPIOH_CLK_ENABLE();
  __HAL_RCC_GPIOA_CLK_ENABLE();
  __HAL_RCC_GPIOC_CLK_ENABLE();
  __HAL_RCC_GPIOB_CLK_ENABLE();
  __HAL_RCC_GPIOD_CLK_ENABLE();
  __HAL_RCC_GPIOG_CLK_ENABLE();

  /*Configure GPIO pin Output Level */
  HAL_GPIO_WritePin(GPIOE, STATUS_LED_3_Pin|STATUS_LED_4_Pin, GPIO_PIN_SET);

  /*Configure GPIO pin Output Level */
  HAL_GPIO_WritePin(GPIOF, TIME_MARKER_3_Pin|TIME_MARKER_4_Pin|TIME_MARKER_1_Pin|TIME_MARKER_2_Pin, GPIO_PIN_RESET);

  /*Configure GPIO pin Output Level */
  HAL_GPIO_WritePin(GPIOA, SLIDERS_S0_Pin|SLIDERS_S1_Pin, GPIO_PIN_RESET);

  /*Configure GPIO pin Output Level */
  HAL_GPIO_WritePin(SLIDERS_S2_GPIO_Port, SLIDERS_S2_Pin, GPIO_PIN_RESET);

  /*Configure GPIO pin Output Level */
  HAL_GPIO_WritePin(NERVE_NET_RESET_GPIO_Port, NERVE_NET_RESET_Pin, GPIO_PIN_RESET);

  /*Configure GPIO pin Output Level */
  HAL_GPIO_WritePin(EX_HEART_BEAT_GPIO_Port, EX_HEART_BEAT_Pin, GPIO_PIN_SET);

  /*Configure GPIO pin Output Level */
  HAL_GPIO_WritePin(NERVE_NET_REQ_GPIO_Port, NERVE_NET_REQ_Pin, GPIO_PIN_RESET);

  /*Configure GPIO pin Output Level */
  HAL_GPIO_WritePin(GPIOB, SER_OUT_RCLK_Pin|STATUS_LED_1_Pin|STATUS_LED_2_Pin, GPIO_PIN_SET);

  /*Configure GPIO pin Output Level */
  HAL_GPIO_WritePin(GPIOD, POTS_S0_Pin|POTS_S1_Pin|POTS_S2_Pin, GPIO_PIN_RESET);

  /*Configure GPIO pin Output Level */
  HAL_GPIO_WritePin(GPIOD, OLED_CS_Pin|OLED_DC_Pin|OLED_RES_Pin|FLASH_CS_2_Pin
                          |SER_IN_PL_Pin, GPIO_PIN_SET);

  /*Configure GPIO pin Output Level */
  HAL_GPIO_WritePin(FLASH_CS_1_GPIO_Port, FLASH_CS_1_Pin, GPIO_PIN_SET);

  /*Configure GPIO pins : STATUS_LED_3_Pin STATUS_LED_4_Pin */
  GPIO_InitStruct.Pin = STATUS_LED_3_Pin|STATUS_LED_4_Pin;
  GPIO_InitStruct.Mode = GPIO_MODE_OUTPUT_OD;
  GPIO_InitStruct.Pull = GPIO_NOPULL;
  GPIO_InitStruct.Speed = GPIO_SPEED_FREQ_LOW;
  HAL_GPIO_Init(GPIOE, &GPIO_InitStruct);

  /*Configure GPIO pins : TIME_MARKER_3_Pin TIME_MARKER_4_Pin TIME_MARKER_1_Pin TIME_MARKER_2_Pin */
  GPIO_InitStruct.Pin = TIME_MARKER_3_Pin|TIME_MARKER_4_Pin|TIME_MARKER_1_Pin|TIME_MARKER_2_Pin;
  GPIO_InitStruct.Mode = GPIO_MODE_OUTPUT_PP;
  GPIO_InitStruct.Pull = GPIO_NOPULL;
  GPIO_InitStruct.Speed = GPIO_SPEED_FREQ_VERY_HIGH;
  HAL_GPIO_Init(GPIOF, &GPIO_InitStruct);

  /*Configure GPIO pins : SLIDERS_S0_Pin SLIDERS_S1_Pin */
  GPIO_InitStruct.Pin = SLIDERS_S0_Pin|SLIDERS_S1_Pin;
  GPIO_InitStruct.Mode = GPIO_MODE_OUTPUT_PP;
  GPIO_InitStruct.Pull = GPIO_NOPULL;
  GPIO_InitStruct.Speed = GPIO_SPEED_FREQ_MEDIUM;
  HAL_GPIO_Init(GPIOA, &GPIO_InitStruct);

  /*Configure GPIO pin : SLIDERS_S2_Pin */
  GPIO_InitStruct.Pin = SLIDERS_S2_Pin;
  GPIO_InitStruct.Mode = GPIO_MODE_OUTPUT_PP;
  GPIO_InitStruct.Pull = GPIO_NOPULL;
  GPIO_InitStruct.Speed = GPIO_SPEED_FREQ_MEDIUM;
  HAL_GPIO_Init(SLIDERS_S2_GPIO_Port, &GPIO_InitStruct);

  /*Configure GPIO pins : NERVE_NET_RESET_Pin SER_OUT_RCLK_Pin */
  GPIO_InitStruct.Pin = NERVE_NET_RESET_Pin|SER_OUT_RCLK_Pin;
  GPIO_InitStruct.Mode = GPIO_MODE_OUTPUT_PP;
  GPIO_InitStruct.Pull = GPIO_NOPULL;
  GPIO_InitStruct.Speed = GPIO_SPEED_FREQ_MEDIUM;
  HAL_GPIO_Init(GPIOB, &GPIO_InitStruct);

  /*Configure GPIO pin : EX_HEART_BEAT_Pin */
  GPIO_InitStruct.Pin = EX_HEART_BEAT_Pin;
  GPIO_InitStruct.Mode = GPIO_MODE_OUTPUT_PP;
  GPIO_InitStruct.Pull = GPIO_NOPULL;
  GPIO_InitStruct.Speed = GPIO_SPEED_FREQ_LOW;
  HAL_GPIO_Init(EX_HEART_BEAT_GPIO_Port, &GPIO_InitStruct);

  /*Configure GPIO pin : NERVE_NET_ACK_Pin */
  GPIO_InitStruct.Pin = NERVE_NET_ACK_Pin;
  GPIO_InitStruct.Mode = GPIO_MODE_IT_RISING_FALLING;
  GPIO_InitStruct.Pull = GPIO_NOPULL;
  HAL_GPIO_Init(NERVE_NET_ACK_GPIO_Port, &GPIO_InitStruct);

  /*Configure GPIO pin : NERVE_NET_REQ_Pin */
  GPIO_InitStruct.Pin = NERVE_NET_REQ_Pin;
  GPIO_InitStruct.Mode = GPIO_MODE_OUTPUT_PP;
  GPIO_InitStruct.Pull = GPIO_PULLDOWN;
  GPIO_InitStruct.Speed = GPIO_SPEED_FREQ_MEDIUM;
  HAL_GPIO_Init(NERVE_NET_REQ_GPIO_Port, &GPIO_InitStruct);

  /*Configure GPIO pins : POTS_S0_Pin POTS_S1_Pin POTS_S2_Pin OLED_CS_Pin
                           OLED_DC_Pin OLED_RES_Pin FLASH_CS_2_Pin SER_IN_PL_Pin */
  GPIO_InitStruct.Pin = POTS_S0_Pin|POTS_S1_Pin|POTS_S2_Pin|OLED_CS_Pin
                          |OLED_DC_Pin|OLED_RES_Pin|FLASH_CS_2_Pin|SER_IN_PL_Pin;
  GPIO_InitStruct.Mode = GPIO_MODE_OUTPUT_PP;
  GPIO_InitStruct.Pull = GPIO_NOPULL;
  GPIO_InitStruct.Speed = GPIO_SPEED_FREQ_MEDIUM;
  HAL_GPIO_Init(GPIOD, &GPIO_InitStruct);

  /*Configure GPIO pin : FLASH_CS_1_Pin */
  GPIO_InitStruct.Pin = FLASH_CS_1_Pin;
  GPIO_InitStruct.Mode = GPIO_MODE_OUTPUT_PP;
  GPIO_InitStruct.Pull = GPIO_NOPULL;
  GPIO_InitStruct.Speed = GPIO_SPEED_FREQ_MEDIUM;
  HAL_GPIO_Init(FLASH_CS_1_GPIO_Port, &GPIO_InitStruct);

  /*Configure GPIO pins : STATUS_LED_1_Pin STATUS_LED_2_Pin */
  GPIO_InitStruct.Pin = STATUS_LED_1_Pin|STATUS_LED_2_Pin;
  GPIO_InitStruct.Mode = GPIO_MODE_OUTPUT_OD;
  GPIO_InitStruct.Pull = GPIO_NOPULL;
  GPIO_InitStruct.Speed = GPIO_SPEED_FREQ_LOW;
  HAL_GPIO_Init(GPIOB, &GPIO_InitStruct);

  /* EXTI interrupt init*/
  HAL_NVIC_SetPriority(NERVE_NET_ACK_EXTI_IRQn, 5, 0);
  HAL_NVIC_EnableIRQ(NERVE_NET_ACK_EXTI_IRQn);

}

void StartDefaultTask(void *argument)
{
  /* USER CODE BEGIN 5 */

	// Sweep the status led's as a sign of live...
	displayStatus(/*(eStatusCodes)*/0x01);
	osDelay(100);
	displayStatus(/*(eStatusCodes)*/0x02);
	osDelay(100);
	displayStatus(/*(eStatusCodes)*/0x04);
	osDelay(100);
	displayStatus(/*(eStatusCodes)*/0x08);
	osDelay(100);
//	displayStatus(scStartingUp);
	displayStatus(0x01);

    // Get the amount of free heap memory
    size_t xFreeHeapSize = xPortGetFreeHeapSize();
    gInitFreeHeapSize = xFreeHeapSize;

    BaseType_t res;
/*
    // Create a trigger thread to toggle TimeMarker_1
    BaseType_t res;
    TaskHandle_t xHandle;
	res = xTaskCreate(CasualNoises::TriggerThread, "TriggerThread", 32, nullptr,
			TRIGGER_THREAD_PRIORITY, &xHandle);
	UNUSED(res);
*/
	// Create a signature map for all encoders/switches
	uint32_t num;
	constexpr uint32_t noOfEncoders 	= 1 + 7;			// 1 encoder & 7 switches
	static CasualNoises::sEncoderSignature encoderSignatures[noOfEncoders];
	num = 0;												// Encoder #1 (Value)
	encoderSignatures[num].encoderNo	= num;
	encoderSignatures[num].switchDevNo	= 0;
	encoderSignatures[num].switchPinNo	= 6;
	encoderSignatures[num].enc_A_DevNo	= 0;
	encoderSignatures[num].enc_A_PinNo	= 2;
	encoderSignatures[num].enc_B_DevNo	= 0;
	encoderSignatures[num].enc_B_PinNo	= 3;
	encoderSignatures[num].allChanges	= false;
	++num;													// Switch #1 (Alt)
	encoderSignatures[num].encoderNo	= num;
	encoderSignatures[num].switchDevNo	= 0;
	encoderSignatures[num].switchPinNo	= 1;
	encoderSignatures[num].enc_A_DevNo	= 0xff;
	encoderSignatures[num].enc_A_PinNo	= 0xff;
	encoderSignatures[num].enc_B_DevNo	= 0xff;
	encoderSignatures[num].enc_B_PinNo	= 0xff;
	encoderSignatures[num].allChanges	= true;
	++num;													// Switch #2 (Page 'A')
	encoderSignatures[num].encoderNo	= num;
	encoderSignatures[num].switchDevNo	= 0;
	encoderSignatures[num].switchPinNo	= 7;
	encoderSignatures[num].enc_A_DevNo	= 0xff;
	encoderSignatures[num].enc_A_PinNo	= 0xff;
	encoderSignatures[num].enc_B_DevNo	= 0xff;
	encoderSignatures[num].enc_B_PinNo	= 0xff;
	encoderSignatures[num].allChanges	= false;
	++num;													// Switch #3 (Page 'B')
	encoderSignatures[num].encoderNo	= num;
	encoderSignatures[num].switchDevNo	= 1;
	encoderSignatures[num].switchPinNo	= 0;
	encoderSignatures[num].enc_A_DevNo	= 0xff;
	encoderSignatures[num].enc_A_PinNo	= 0xff;
	encoderSignatures[num].enc_B_DevNo	= 0xff;
	encoderSignatures[num].enc_B_PinNo	= 0xff;
	encoderSignatures[num].allChanges	= false;
	++num;													// Switch #4 (<)
	encoderSignatures[num].encoderNo	= num;
	encoderSignatures[num].switchDevNo	= 1;
	encoderSignatures[num].switchPinNo	= 1;
	encoderSignatures[num].enc_A_DevNo	= 0xff;
	encoderSignatures[num].enc_A_PinNo	= 0xff;
	encoderSignatures[num].enc_B_DevNo	= 0xff;
	encoderSignatures[num].enc_B_PinNo	= 0xff;
	encoderSignatures[num].allChanges	= false;
	++num;													// Switch #5 (>)
	encoderSignatures[num].encoderNo	= num;
	encoderSignatures[num].switchDevNo	= 1;
	encoderSignatures[num].switchPinNo	= 2;
	encoderSignatures[num].enc_A_DevNo	= 0xff;
	encoderSignatures[num].enc_A_PinNo	= 0xff;
	encoderSignatures[num].enc_B_DevNo	= 0xff;
	encoderSignatures[num].enc_B_PinNo	= 0xff;
	encoderSignatures[num].allChanges	= false;
	++num;													// Switch #6 (Edit)
	encoderSignatures[num].encoderNo	= num;
	encoderSignatures[num].switchDevNo	= 1;
	encoderSignatures[num].switchPinNo	= 3;
	encoderSignatures[num].enc_A_DevNo	= 0xff;
	encoderSignatures[num].enc_A_PinNo	= 0xff;
	encoderSignatures[num].enc_B_DevNo	= 0xff;
	encoderSignatures[num].enc_B_PinNo	= 0xff;
	encoderSignatures[num].allChanges	= false;
	++num;													// Switch #7 (Exit)
	encoderSignatures[num].encoderNo	= num;
	encoderSignatures[num].switchDevNo	= 0;
	encoderSignatures[num].switchPinNo	= 4;
	encoderSignatures[num].enc_A_DevNo	= 0xff;
	encoderSignatures[num].enc_A_PinNo	= 0xff;
	encoderSignatures[num].enc_B_DevNo	= 0xff;
	encoderSignatures[num].enc_B_PinNo	= 0xff;
	encoderSignatures[num].allChanges	= false;

	// Create a signature map for all ADC multiplexers
	constexpr uint32_t noADC_Multiplexers 	= NO_OF_ADC_MULTIPLEXERS;			// 2 multiplexers: 1 pots & 1 sliders
	static DeviceBoard::sADC_MultiplexerSignature sADC_MultiplexerSignatures [ noADC_Multiplexers ];
	num = 0;												// Potentiometer multiplexer
	sADC_MultiplexerSignatures[num].SO_Pin	= POTS_S0_Pin;
	sADC_MultiplexerSignatures[num].SO_Port	= GPIOD;
	sADC_MultiplexerSignatures[num].S1_Pin	= POTS_S1_Pin;
	sADC_MultiplexerSignatures[num].S1_Port	= GPIOD;
	sADC_MultiplexerSignatures[num].S2_Pin	= POTS_S2_Pin;
	sADC_MultiplexerSignatures[num].S2_Port	= GPIOD;
	sADC_MultiplexerSignatures[num].mask	= 0x56;
	++num;													// Slider multiplexer
	sADC_MultiplexerSignatures[num].SO_Pin	= SLIDERS_S0_Pin;
	sADC_MultiplexerSignatures[num].SO_Port	= GPIOA;
	sADC_MultiplexerSignatures[num].S1_Pin	= SLIDERS_S1_Pin;
	sADC_MultiplexerSignatures[num].S1_Port	= GPIOA;
	sADC_MultiplexerSignatures[num].S2_Pin	= SLIDERS_S2_Pin;
	sADC_MultiplexerSignatures[num].S2_Port	= SLIDERS_S2_GPIO_Port;
	sADC_MultiplexerSignatures[num].mask	= 0xff;

	// Create mapping tables for converting ADC Multiplexer no / ADC Multiplexer channel to logical channel id
	static DeviceBoard::sLogicalPotChannelNums sLogicalPotChannelNums  [ noADC_Multiplexers ];
	num = 0;												// Potentiometer multiplexer
	sLogicalPotChannelNums [ num ].logicalPotIds [ (uint32_t)eMultiplexerChannel_0::P_1 ] = DeviceBoard::eLogicalPotId::pot_1;
	sLogicalPotChannelNums [ num ].logicalPotIds [ (uint32_t)eMultiplexerChannel_0::P_2 ] = DeviceBoard::eLogicalPotId::pot_2;
	sLogicalPotChannelNums [ num ].logicalPotIds [ (uint32_t)eMultiplexerChannel_0::P_3 ] = DeviceBoard::eLogicalPotId::pot_3;
	sLogicalPotChannelNums [ num ].logicalPotIds [ (uint32_t)eMultiplexerChannel_0::P_4 ] = DeviceBoard::eLogicalPotId::pot_4;
	++num;													// Slider multiplexer
	sLogicalPotChannelNums [ num ].logicalPotIds [ (uint32_t)eMultiplexerChannel_1::F_1 ] = DeviceBoard::eLogicalPotId::slider_1;
	sLogicalPotChannelNums [ num ].logicalPotIds [ (uint32_t)eMultiplexerChannel_1::F_2 ] = DeviceBoard::eLogicalPotId::slider_2;
	sLogicalPotChannelNums [ num ].logicalPotIds [ (uint32_t)eMultiplexerChannel_1::F_3 ] = DeviceBoard::eLogicalPotId::slider_3;
	sLogicalPotChannelNums [ num ].logicalPotIds [ (uint32_t)eMultiplexerChannel_1::F_4 ] = DeviceBoard::eLogicalPotId::slider_4;
	sLogicalPotChannelNums [ num ].logicalPotIds [ (uint32_t)eMultiplexerChannel_1::F_5 ] = DeviceBoard::eLogicalPotId::slider_5;
	sLogicalPotChannelNums [ num ].logicalPotIds [ (uint32_t)eMultiplexerChannel_1::F_6 ] = DeviceBoard::eLogicalPotId::slider_6;
	sLogicalPotChannelNums [ num ].logicalPotIds [ (uint32_t)eMultiplexerChannel_1::F_7 ] = DeviceBoard::eLogicalPotId::slider_7;
	sLogicalPotChannelNums [ num ].logicalPotIds [ (uint32_t)eMultiplexerChannel_1::F_8 ] = DeviceBoard::eLogicalPotId::slider_8;

	// Encoder #1 (Value)
	// Create a UI thread and run it
	// Note, part of the UI_ThreadData is filled in by the UI thread when starting up
	void ( *nerveNetCallBackPtr ) ( CasualNoises::tNerveNetMessageHeader* messagePtr ) = nullptr;

	static DeviceBoard::UI_ThreadData uiData;
	// ... NVM Driver settings
	uiData.nvmDriverInitData.noOfDevices				= 2;
	uiData.nvmDriverInitData.hspix_ptr					= &hspi5;
	uiData.nvmDriverInitData.deviceSelectPorts[0]		= FLASH_CS_1_GPIO_Port;
	uiData.nvmDriverInitData.deviceSelectPins[0]		= FLASH_CS_1_Pin;
	uiData.nvmDriverInitData.deviceSelectPorts[1]		= FLASH_CS_2_GPIO_Port;
	uiData.nvmDriverInitData.deviceSelectPins[1]		= FLASH_CS_2_Pin;
	// ... encoder thread settings
	uiData.spiEncoderThreadData.encoderSignatureArray	= encoderSignatures; // Encoder signature array
	uiData.spiEncoderThreadData.noOfEncoders			= noOfEncoders;
	uiData.spiEncoderThreadData.encoder_SPI_Handle		= &hspi1;			// SPI1 is used for encoders and switches
	uiData.spiEncoderThreadData.serInPL_Port			= GPIOD;			// Port and pin for parallel load of shift registers
	uiData.spiEncoderThreadData.serInPL_Pin				= SER_IN_PL_Pin;
	uiData.spiEncoderThreadData.noOfDevices				= 2;				// No of available shift registers
	// ... led thread settings
	uiData.spi_LED_ThreadData.LED_SPI_Handle			= &hspi2;
	uiData.spi_LED_ThreadData.TimerHandle				= &htim4;
	uiData.spi_LED_ThreadData.SER_OUT_RCLK_GPIO__Port	= SER_OUT_RCLK_GPIO_Port;
	uiData.spi_LED_ThreadData.SER_OUT_RCLK_GPIO_Pin		= SER_OUT_RCLK_Pin;
	// ... oled display settings
	uiData.oledConfigData.SPI							= &hspi3;			// SPI3 drives the oled display
	uiData.oledConfigData.CS_PIN						= OLED_CS_Pin;
	uiData.oledConfigData.CS_PORT						= GPIOD;
	uiData.oledConfigData.DC_PIN						= OLED_DC_Pin;
	uiData.oledConfigData.DC_PORT						= GPIOD;
	uiData.oledConfigData.NRST_PIN						= OLED_RES_Pin;
	uiData.oledConfigData.NRST_PORT						= GPIOD;
	// ...
	uiData.ADC_MultiplexerThreadData.hadc				= &hadc2;
	uiData.ADC_MultiplexerThreadData.noOfMultiplexers	= 2;
	uiData.ADC_MultiplexerThreadData.multiplexerSignatureArray 	= sADC_MultiplexerSignatures;
	uiData.ADC_MultiplexerThreadData.logicalPotChannelNumsArray = sLogicalPotChannelNums;

	// Start UI thread
	uiData.nerveNetCallBackPtr   						= &nerveNetCallBackPtr;
	res = DeviceBoard::Start_UI_Thread ( &uiData );
	if ( res != pdPASS )
		CN_ReportFault( eErrorCodes::FreeRTOS_ErrorRes );

	// There are no NerveNet threads running
	for (uint32_t i = 0; i < MAX_NO_OF_NERVENET_MASTER_THREADS; ++i)
		gNerveNetMasterThreadPtr[i] = nullptr;
	for (uint32_t i = 0; i < MAX_NO_OF_NERVENET_SLAVE_THREADS; ++i)
		gNerveNetSlaveThreadPtr[i] = nullptr;

	// Start NerveNet master thread
	static CasualNoises::sNerveNetThreadData nerveNetThreadData;
	memset(&nerveNetThreadData, 0x00, sizeof(CasualNoises::sNerveNetThreadData));
	nerveNetThreadData.NerveNetThreadNo			= 0;
	nerveNetThreadData.NerveNet_REQ_Port		= NERVE_NET_REQ_GPIO_Port;
	nerveNetThreadData.NerveNet_REQ_Pin			= NERVE_NET_REQ_Pin;
	nerveNetThreadData.NerveNet_ACK_Port		= NERVE_NET_ACK_GPIO_Port;
	nerveNetThreadData.NerveNet_ACK_Pin			= NERVE_NET_ACK_Pin;
	nerveNetThreadData.NerveNet_RESET_Port		= NERVE_NET_RESET_GPIO_Port;
	nerveNetThreadData.NerveNet_RESET_Pin		= NERVE_NET_RESET_Pin;
	nerveNetThreadData.NerveNet_SPI_Ptr			= &hspi4;
	nerveNetThreadData.NerveNetThreadQueue		= &DeviceBoard::gYellowPages.gNerveNetMasterThreadQueueHandle;
	nerveNetThreadData.NerveNetRunningFlagPtr	= &DeviceBoard::gYellowPages.gNetMasterThreadRunning;
	static TaskHandle_t xHandlePtr;
	static CasualNoises::NerveNetMasterThread nerveNetMasterThread;
	res = CasualNoises::startNerveNetMasterThread ( &nerveNetMasterThread, &nerveNetThreadData, &xHandlePtr );
	if (res != pdPASS)
		CN_ReportFault(eErrorCodes::NerveNetThread_Error);
	DeviceBoard::gYellowPages.gNerveNetMasterThreadTaskHandle 	= xHandlePtr;
	DeviceBoard::NorthSideConnection connection;
	nerveNetMasterThread.setNerveNetMasterProcessorPtr ( &connection );

   /* Infinite loop */
	osDelay(200);
//	displayStatus(scRunning);
	incDisplayStatus();
	for(;;)
	{
		HAL_GPIO_WritePin ( EX_HEART_BEAT_GPIO_Port, EX_HEART_BEAT_Pin, GPIO_PIN_RESET );
		osDelay (pdMS_TO_TICKS ( 100 ) );
		HAL_GPIO_WritePin ( EX_HEART_BEAT_GPIO_Port, EX_HEART_BEAT_Pin, GPIO_PIN_SET );
		osDelay (pdMS_TO_TICKS ( 100) );
		HAL_GPIO_WritePin ( EX_HEART_BEAT_GPIO_Port, EX_HEART_BEAT_Pin, GPIO_PIN_RESET );
		osDelay ( pdMS_TO_TICKS (100) );
		HAL_GPIO_WritePin ( EX_HEART_BEAT_GPIO_Port, EX_HEART_BEAT_Pin, GPIO_PIN_SET );
		osDelay( pdMS_TO_TICKS ( 700) );
		xFreeHeapSize = xPortGetFreeHeapSize();
//		nerveNetMasterThread.checkCycleCount ();								// ToDo put this code back in after debug
	}

  /* USER CODE END 5 */
}

 /* MPU Configuration */

void MPU_Config(void)
{
  MPU_Region_InitTypeDef MPU_InitStruct = {0};

  /* Disables the MPU */
  HAL_MPU_Disable();

  /** Initializes and configures the Region and the memory to be protected
  */
  MPU_InitStruct.Enable = MPU_REGION_ENABLE;
  MPU_InitStruct.Number = MPU_REGION_NUMBER0;
  MPU_InitStruct.BaseAddress = 0x0;
  MPU_InitStruct.Size = MPU_REGION_SIZE_4GB;
  MPU_InitStruct.SubRegionDisable = 0x87;
  MPU_InitStruct.TypeExtField = MPU_TEX_LEVEL0;
  MPU_InitStruct.AccessPermission = MPU_REGION_NO_ACCESS;
  MPU_InitStruct.DisableExec = MPU_INSTRUCTION_ACCESS_DISABLE;
  MPU_InitStruct.IsShareable = MPU_ACCESS_SHAREABLE;
  MPU_InitStruct.IsCacheable = MPU_ACCESS_NOT_CACHEABLE;
  MPU_InitStruct.IsBufferable = MPU_ACCESS_NOT_BUFFERABLE;

  HAL_MPU_ConfigRegion(&MPU_InitStruct);
  /* Enables the MPU */
  HAL_MPU_Enable(MPU_PRIVILEGED_DEFAULT);

}

void HAL_TIM_PeriodElapsedCallback(TIM_HandleTypeDef *htim)
{
  /* USER CODE BEGIN Callback 0 */
	static uint32_t tim2Cnt = 0;								// ToDo remove debug code
	static uint32_t tim6Cnt = 0;

	if (htim->Instance == TIM2)
	{
	  ++tim2Cnt;
	}
	else if (htim->Instance == TIM4)
	{
	  CasualNoises::Handle_LED_RefreshInterrupts();
	}
	else if (htim->Instance == TIM6)
	{
		++tim6Cnt;
	}

  /* USER CODE END Callback 0 */
  if (htim->Instance == TIM1)
  {
    HAL_IncTick();
  }
}

void Error_Handler(void)
{
  __disable_irq();
  while (1)
  {
  }
}
